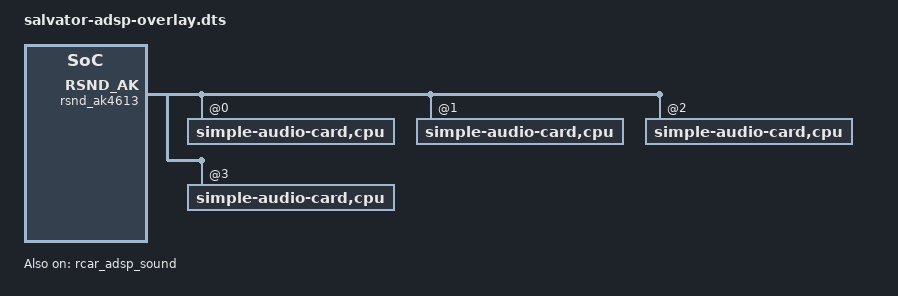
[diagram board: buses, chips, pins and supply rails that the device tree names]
/*
 * Device Tree Overlay for the Salvator boards with enabled ADSP
 *
 * Copyright (C) 2018 GlobalLogic
 *
 * This file is licensed under the terms of the GNU General Public License
 * version 2.  This program is licensed "as is" without any warranty of any
 * kind, whether express or implied.
 */

/dts-v1/;
/plugin/;

&rsnd_ak4613 {
	simple-audio-card,routing = "ak4613 Playback", "Playback0",
						"ak4613 Playback", "Playback1",
						"ak4613 Playback", "Playback2",
						"ak4613 Playback", "Playback3",
						"Capture0", "ak4613 Capture",
						"Capture1", "ak4613 Capture",
						"Capture2", "ak4613 Capture",
						"Capture3", "ak4613 Capture",
						"ak4613 Playback", "DAI0 Playback",
						"DAI0 Capture", "ak4613 Capture";

	simple-audio-card,cpu@0 {
		sound-dai = <&rcar_adsp_sound 0>;
	};

	simple-audio-card,cpu@1 {
		sound-dai = <&rcar_adsp_sound 1>;
	};

	simple-audio-card,cpu@2 {
		sound-dai = <&rcar_adsp_sound 2>;
	};

	simple-audio-card,cpu@3 {
		sound-dai = <&rcar_adsp_sound 3>;
	};
};

&rcar_adsp_sound {
	status = "okay";
	/* Multiple DAI */
	#sound-dai-cells = <1>;
};
